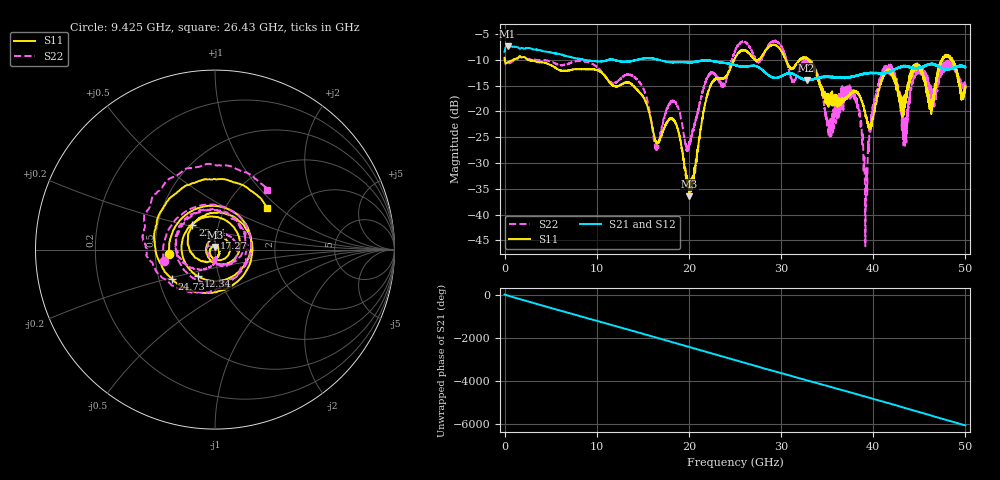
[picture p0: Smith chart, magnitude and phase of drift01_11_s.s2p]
!Created with skrf (http://scikit-rf.org).
# Hz S RI R 50.0
!freq ReS11 ImS11 ReS21 ImS21 ReS12 ImS12 ReS22 ImS22
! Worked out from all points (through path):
!   10001 points, 300 kHz to 50 GHz, reference 50 ohm
!   highest |S21| = -7.33 dB at 325.3 MHz (marker M1); lowest = -14.0 dB at 32.77 GHz (marker M2)
!   group delay of S21, straight-line fit = 335 ps
!   lowest |S11| = -36.5 dB at 20.03 GHz (marker M3), VSWR 1.03, Z = 50 + j1.5 ohm
!   |S11| at or under -10 dB: 2.554 GHz to 24.9 GHz (22.35 GHz wide, 163 % of centre); 30.51 GHz to 32.02 GHz (1.51 GHz wide, 4.83 % of centre); 33.05 GHz to 47.45 GHz (14.4 GHz wide, 35.8 % of centre) (the widest 3 of 23)
!   |S22| runs from -46.1 to -6.2 dB; largest |S21 - S12| = 0.0094
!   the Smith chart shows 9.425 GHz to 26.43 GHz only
!   S11 on the Smith chart (normalised r, x): 9.425 GHz: 0.59, -0.03; 12.34 GHz: 0.79, -0.24; 17.27 GHz: 0.98, +0.13; 22.44 GHz: 0.75, +0.22; 24.73 GHz: 0.59, -0.21; 26.43 GHz: 1.56, +0.83
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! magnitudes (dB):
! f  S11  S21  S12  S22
! 300 kHz  -9.6  -8.4  -8.5  -9.6
! 325.3 MHz  -10.5  -7.3  -7.3  -10.9
! 8.335 GHz  -11.8  -9.9  -9.9  -10.2
! 9.425 GHz  -11.8  -10.2  -10.2  -10.7
! 12.34 GHz  -15.1  -10.2  -10.2  -14.0
! 16.67 GHz  -26.2  -10.0  -10.0  -27.1
! 17.27 GHz  -23.4  -10.2  -10.2  -21.4
! 20.03 GHz  -36.5  -10.5  -10.5  -26.4
! 22.44 GHz  -14.6  -10.2  -10.2  -12.5
! 24.73 GHz  -10.8  -10.9  -10.9  -9.5
! 25 GHz  -9.6  -11.0  -11.0  -8.3
! 26.43 GHz  -8.6  -11.2  -11.2  -7.0
! 32.77 GHz  -9.7  -14.0  -13.9  -10.2
! 33.34 GHz  -10.9  -13.8  -13.8  -10.7
! 35.23 GHz  -17.5  -13.2  -13.2  -22.7
! 37.97 GHz  -15.9  -13.1  -13.2  -17.6
! 39.17 GHz  -20.7  -12.6  -12.7  -42.6
! 40.14 GHz  -20.0  -12.5  -12.5  -17.6
! 41.67 GHz  -12.2  -12.3  -12.4  -11.8
! 43.45 GHz  -17.2  -11.3  -11.3  -26.0
! 44.83 GHz  -11.6  -11.6  -11.5  -12.5
! 50 GHz  -15.4  -11.4  -11.5  -15.1
